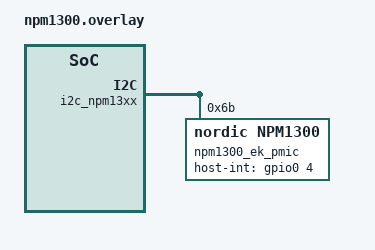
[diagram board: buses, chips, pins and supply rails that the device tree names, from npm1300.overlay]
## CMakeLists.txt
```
# Copyright (c) 2023 Nordic Semiconductor ASA
# SPDX-License-Identifier: LicenseRef-Nordic-5-Clause

cmake_minimum_required(VERSION 3.20.0)

find_package(Zephyr REQUIRED HINTS $ENV{ZEPHYR_BASE})

project(mem_lbs_memfault)

add_subdirectory(src)

zephyr_include_directories(memfault_config)
```

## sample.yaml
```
# Copyright (c) 2023 Nordic Semiconductor ASA
# SPDX-License-Identifier: LicenseRef-Nordic-5-Clause
sample:
  name: mem_lbs (BLE LBS + Memfault-over-BLE + nPM1300 fuel gauge)
  description: >
    nRF54L15 DK + nPM1300 EK sample combining the BLE LED-Button Service (advertised as
    "mem_lbs"), the Memfault Diagnostic Service (Memfault data uploaded over BLE), and the
    nPM1300 fuel gauge (state of charge, state of health, charging status).
common:
  integration_platforms:
    - nrf54l15dk/nrf54l15/cpuapp
  platform_allow:
    - nrf54l15dk/nrf54l15/cpuapp
  tags:
    - pmic
    - ci_samples_pmic
    - bluetooth
    - sysbuild
tests:
  sample.mem_lbs_memfault_compile:
    sysbuild: true
    build_only: true
    extra_args:
      - EXTRA_DTC_OVERLAY_FILE=npm1300.overlay
```

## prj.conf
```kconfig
# Copyright (c) 2023 Nordic Semiconductor ASA
# SPDX-License-Identifier: LicenseRef-Nordic-5-Clause

CONFIG_SHELL=y
CONFIG_LOG=y
CONFIG_LOG_CMDS=y
CONFIG_GPIO=y
CONFIG_REGULATOR=y
CONFIG_SENSOR=y
CONFIG_I2C_SHELL=y
CONFIG_NRF_FUEL_GAUGE=y
CONFIG_NRF_FUEL_GAUGE_VARIANT_SECONDARY_CELL=y
CONFIG_REQUIRES_FLOAT_PRINTF=y
CONFIG_MAIN_STACK_SIZE=1536
CONFIG_FLASH=y
CONFIG_FLASH_MAP=y
CONFIG_NVS=y
CONFIG_SETTINGS=y
CONFIG_SETTINGS_SHELL=y
CONFIG_NVS_LOOKUP_CACHE=y
CONFIG_SETTINGS_NVS_NAME_CACHE=y

# Bluetooth LE - mem_lbs (LED Button Service), open access, no pairing
CONFIG_BT=y
CONFIG_BT_PERIPHERAL=y
CONFIG_BT_DEVICE_NAME="mem_lbs"
CONFIG_BT_LBS=y
CONFIG_BT_LBS_POLL_BUTTON=y
CONFIG_DK_LIBRARY=y

# Bluetooth LE - Memfault Diagnostic Service (chunks forwarded by a BLE gateway)
CONFIG_BT_MDS=y

# BLE throughput tuning for faster Memfault chunk transfer
CONFIG_BT_CTLR_PHY_2M=y
CONFIG_BT_BUF_ACL_RX_SIZE=251
CONFIG_BT_L2CAP_TX_MTU=247
CONFIG_BT_BUF_ACL_TX_SIZE=251
CONFIG_BT_CTLR_DATA_LENGTH_MAX=251

CONFIG_SYSTEM_WORKQUEUE_STACK_SIZE=2048

# Memfault
# Event storage is snapshotted to flash every 5 minutes (src/memfault_persist.c) so
# heartbeats/trace events collected while BLE is disconnected survive a reboot or
# power loss. Sized as 2 x 3072-byte NVS entries (see MFLT_STORAGE_PART_COUNT).
CONFIG_MEMFAULT_EVENT_STORAGE_SIZE=6144
CONFIG_MEMFAULT=y

# Official Memfault "Core Metrics: Battery" integration for the nPM13xx fuel gauge.
# Auto-selects CONFIG_MEMFAULT_METRICS_BATTERY_ENABLE, which defines and populates
# battery_soc_pct, battery_soc_pct_drop and battery_discharge_duration_ms (required
# for the Memfault dashboard's Battery widget), plus battery_voltage and
# battery_soh_pct on NCS 3.4+.
CONFIG_MEMFAULT_NRF_PLATFORM_BATTERY_NPM13XX=y
CONFIG_MEMFAULT_NCS_PROJECT_KEY="<YOUR_MEMFAULT_PROJECT_KEY>"
CONFIG_MEMFAULT_NCS_DEVICE_ID_STATIC=y
CONFIG_MEMFAULT_NCS_DEVICE_ID="mem-lbs-nrf54l15"
CONFIG_MEMFAULT_NCS_BT_METRICS=y
CONFIG_MEMFAULT_METRICS_HEARTBEAT_INTERVAL_SECS=60
CONFIG_MEMFAULT_LOGGING_ENABLE=y
CONFIG_MEMFAULT_LOG_LEVEL_INF=y
CONFIG_MEMFAULT_SHELL=y

# Heap memory required by the Memfault shell/CLI
CONFIG_HEAP_MEM_POOL_SIZE=256
```

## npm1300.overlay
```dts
/*
 * Copyright (c) 2025 Nordic Semiconductor ASA
 *
 * SPDX-License-Identifier: LicenseRef-Nordic-5-Clause
 */

#include <zephyr/dt-bindings/regulator/npm13xx.h>
#include <zephyr/dt-bindings/input/input-event-codes.h>

&i2c_npm13xx {
	npm1300_ek_pmic: pmic@6b {
		compatible = "nordic,npm1300";
		reg = <0x6b>;

		host-int-gpios = <&gpio0 4 0>;
		pmic-int-pin = <3>;

		npm1300_ek_charger: npm1300_charger: charger {
			compatible = "nordic,npm1300-charger";
			/* Termination voltage matches the LP502540 (500 mAh) battery model
			 * in Battery/, whose OCV curve converges to ~4.20 V at SoC=100%.
			 */
			term-microvolt = <4200000>;
			term-warm-microvolt = <4000000>;
			/* 0.5C for the 500 mAh LP502540 cell. */
			current-microamp = <250000>;
			dischg-limit-microamp = <1000000>;
			vbus-limit-microamp = <500000>;
			thermistor-ohms = <10000>;
			thermistor-beta = <3380>;
			charging-enable;
		};

		npm1300_ek_leds: leds {
			compatible = "nordic,npm1300-led";
			nordic,led0-mode = "error";
			nordic,led1-mode = "charging";
			nordic,led2-mode = "host";
		};
	};
};
```

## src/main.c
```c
/*
 * Copyright (c) 2023 Nordic Semiconductor ASA
 * SPDX-License-Identifier: LicenseRef-Nordic-5-Clause
 */

#include <zephyr/kernel.h>
#include <zephyr/device.h>
#include <zephyr/drivers/gpio.h>
#include <zephyr/drivers/mfd/npm13xx.h>
#include <zephyr/drivers/sensor.h>
#include <zephyr/sys/printk.h>

#include <zephyr/bluetooth/bluetooth.h>
#include <zephyr/bluetooth/hci.h>
#include <zephyr/bluetooth/conn.h>
#include <zephyr/bluetooth/uuid.h>
#include <zephyr/bluetooth/gatt.h>

#include <bluetooth/services/lbs.h>
#include <bluetooth/services/mds.h>

#include <dk_buttons_and_leds.h>

#include <memfault/metrics/metrics.h>
#include <memfault/metrics/battery.h>
#include <memfault/core/trace_event.h>

#include "fuel_gauge.h"
#include "memfault_persist.h"

#define SLEEP_TIME_MS 500

//#define DEVICE_NAME     CONFIG_BT_DEVICE_NAME
#define DEVICE_NAME     "NEW_LBS"
#define DEVICE_NAME_LEN (sizeof(DEVICE_NAME) - 1)

#define RUN_STATUS_LED DK_LED1
#define CON_STATUS_LED DK_LED2
#define USER_LED       DK_LED3

#define USER_BUTTON DK_BTN1_MSK

/* BLE connection state values reported to Memfault. */
#define BLE_CONN_STATE_ADVERTISING 0
#define BLE_CONN_STATE_CONNECTED   1

#if DT_NODE_EXISTS(DT_NODELABEL(npm1300_ek_pmic))
#define NPM13XX_DEVICE(dev) DEVICE_DT_GET(DT_NODELABEL(npm1300_ek_##dev))
#elif DT_NODE_EXISTS(DT_NODELABEL(npm1304_ek_pmic))
#define NPM13XX_DEVICE(dev) DEVICE_DT_GET(DT_NODELABEL(npm1304_ek_##dev))
#else
#error "neither npm1300 nor npm1304 found in devicetree"
#endif

static const struct device *pmic = NPM13XX_DEVICE(pmic);
static const struct device *charger = NPM13XX_DEVICE(charger);
static volatile bool vbus_connected;

static bool app_button_state;
static struct k_work adv_work;
static uint32_t led_state_bitmask;
static bool charging_enabled = true;

static const struct bt_data ad[] = {
	BT_DATA_BYTES(BT_DATA_FLAGS, (BT_LE_AD_GENERAL | BT_LE_AD_NO_BREDR)),
	BT_DATA(BT_DATA_NAME_COMPLETE, DEVICE_NAME, DEVICE_NAME_LEN),
};

static const struct bt_data sd[] = {
	BT_DATA_BYTES(BT_DATA_UUID128_ALL, BT_UUID_LBS_VAL),
};

/* Wraps dk_set_led*() so the on-board LED state is mirrored into a Memfault metric. */
static void set_led(int led_idx, bool on)
{
	dk_set_led(led_idx, on);

	WRITE_BIT(led_state_bitmask, led_idx, on);
	MEMFAULT_METRIC_SET_UNSIGNED(led_state_bitmask, led_state_bitmask);
}

static void adv_work_handler(struct k_work *work)
{
	int err = bt_le_adv_start(BT_LE_ADV_CONN_FAST_2, ad, ARRAY_SIZE(ad), sd, ARRAY_SIZE(sd));

	if (err) {
		printk("Advertising failed to start (err %d)\n", err);
		return;
	}

	MEMFAULT_METRIC_SET_UNSIGNED(ble_conn_state, BLE_CONN_STATE_ADVERTISING);

	printk("Advertising successfully started as %s\n", DEVICE_NAME);
}

static void advertising_start(void)
{
	k_work_submit(&adv_work);
}

static void connected(struct bt_conn *conn, uint8_t err)
{
	if (err) {
		printk("Connection failed, err 0x%02x %s\n", err, bt_hci_err_to_str(err));
		return;
	}

	printk("Connected\n");

	set_led(CON_STATUS_LED, true);
	MEMFAULT_METRIC_SET_UNSIGNED(ble_conn_state, BLE_CONN_STATE_CONNECTED);
}

static void disconnected(struct bt_conn *conn, uint8_t reason)
{
	printk("Disconnected, reason 0x%02x %s\n", reason, bt_hci_err_to_str(reason));

	set_led(CON_STATUS_LED, false);
}

static void recycled_cb(void)
{
	printk("Connection object available from previous conn. Disconnect is complete!\n");
	advertising_start();
}

BT_CONN_CB_DEFINE(conn_callbacks) = {
	.connected    = connected,
	.disconnected = disconnected,
	.recycled     = recycled_cb,
};

static void app_led_cb(bool led_state)
{
	set_led(USER_LED, led_state);
}

static bool app_button_cb(void)
{
	return app_button_state;
}

static struct bt_lbs_cb lbs_callbacks = {
	.led_cb    = app_led_cb,
	.button_cb = app_button_cb,
};

/* Enables or disables charging at runtime via the nPM1300 charger's CHGR EN_SET/EN_CLR. */
static void set_charging_enabled(bool enable)
{
	struct sensor_value val = {
		.val1 = enable ? 1 : 0,
		.val2 = 0,
	};
	int err = sensor_attr_set(charger, SENSOR_CHAN_GAUGE_DESIRED_CHARGING_CURRENT,
				  SENSOR_ATTR_CONFIGURATION, &val);

	if (err) {
		printk("Failed to %s charging (err %d)\n", enable ? "enable" : "disable", err);
		return;
	}

	charging_enabled = enable;
	printk("Charging %s (Button 0)\n", enable ? "enabled" : "disabled");
}

static void button_changed(uint32_t button_state, uint32_t has_changed)
{
	if (has_changed & USER_BUTTON) {
		uint32_t user_button_state = button_state & USER_BUTTON;

		bt_lbs_send_button_state(user_button_state);
		app_button_state = user_button_state ? true : false;

		if (user_button_state) {
			/* Button 0 pressed: toggle charging on/off. */
			set_charging_enabled(!charging_enabled);
		}
	}
}

static int init_button(void)
{
	int err;

	err = dk_buttons_init(button_changed);
	if (err) {
		printk("Cannot init buttons (err: %d)\n", err);
	}

	return err;
}

/* Open access: no pairing is required, so any connected central may pull Memfault data. */
static bool mds_access_enable(struct bt_conn *conn)
{
	ARG_UNUSED(conn);

	return true;
}

static const struct bt_mds_cb mds_cb = {
	.access_enable = mds_access_enable,
};

static void event_callback(const struct device *dev, struct gpio_callback *cb, uint32_t pins)
{
	if (pins & BIT(NPM13XX_EVENT_VBUS_DETECTED)) {
		printk("Vbus connected\n");
		vbus_connected = true;
		MEMFAULT_TRACE_EVENT_WITH_LOG(vbus_state_changed, "Vbus connected");
	}

	if (pins & BIT(NPM13XX_EVENT_VBUS_REMOVED)) {
		printk("Vbus removed\n");
		vbus_connected = false;
		MEMFAULT_TRACE_EVENT_WITH_LOG(vbus_state_changed, "Vbus removed");
	}
}

int main(void)
{
	uint32_t blink_status = 0;
	int err;

	printk("Starting mem_lbs (BLE LBS + Memfault-over-BLE + nPM13xx fuel gauge)\n");

	if (!device_is_ready(pmic)) {
		printk("Pmic device not ready.\n");
		return 0;
	}

	if (!device_is_ready(charger)) {
		printk("Charger device not ready.\n");
		return 0;
	}

	/* Settings subsystem is initialized earlier, from memfault_persist.c's own
	 * SYS_INIT, so that Memfault's event storage restore hook can use it too.
	 */

	if (fuel_gauge_init(charger) < 0) {
		printk("Could not initialise fuel gauge.\n");
		return 0;
	}

	static struct gpio_callback event_cb;

	gpio_init_callback(&event_cb, event_callback,
			   BIT(NPM13XX_EVENT_VBUS_DETECTED) | BIT(NPM13XX_EVENT_VBUS_REMOVED));

	err = mfd_npm13xx_add_callback(pmic, &event_cb);
	if (err) {
		printk("Failed to add pmic callback.\n");
		return 0;
	}

	/* Initialise vbus detection status. */
	struct sensor_value val;
	int ret = sensor_attr_get(charger, SENSOR_CHAN_CURRENT, SENSOR_ATTR_UPPER_THRESH, &val);

	if (ret < 0) {
		return 0;
	}

	vbus_connected = (val.val1 != 0) || (val.val2 != 0);

	printk("PMIC device ok\n");

	err = dk_leds_init();
	if (err) {
		printk("LEDs init failed (err %d)\n", err);
		return 0;
	}

	err = init_button();
	if (err) {
		printk("Button init failed (err %d)\n", err);
		return 0;
	}

	err = bt_lbs_init(&lbs_callbacks);
	if (err) {
		printk("Failed to init LBS (err:%d)\n", err);
		return 0;
	}

	err = bt_mds_cb_register(&mds_cb);
	if (err) {
		printk("Memfault Diagnostic service callback registration failed (err %d)\n", err);
		return 0;
	}

	err = bt_enable(NULL);
	if (err) {
		printk("Bluetooth init failed (err %d)\n", err);
		return 0;
	}

	printk("Bluetooth initialized\n");

	k_work_init(&adv_work, adv_work_handler);
	advertising_start();

	memfault_persist_init();

	bool was_charging = false;

	while (1) {
		struct fuel_gauge_data fg_data;

		set_led(RUN_STATUS_LED, (++blink_status) % 2);

		if (fuel_gauge_update(charger, vbus_connected, &fg_data) == 0) {
			/* battery_soc_pct/soh_pct/voltage and the soc-drop/discharge-duration
			 * metrics are Memfault's official Core Battery Metrics, populated
			 * automatically by CONFIG_MEMFAULT_NRF_PLATFORM_BATTERY_NPM13XX.
			 */
			MEMFAULT_METRIC_SET_UNSIGNED(battery_charging, fg_data.charging ? 1 : 0);

			if (fg_data.charging && !was_charging) {
				/* Required by the battery metrics module so it excludes
				 * charge-related SoC increases from the discharge-drop stats.
				 */
				memfault_metrics_battery_stopped_discharging();
			}
			was_charging = fg_data.charging;
		}

		/* Using constant sleep time to keep the sample simple.
		 * In a real application, the interval can be long when the battery is discharging
		 * at a slow rate. Reduce the interval during periods of higher discharge current
		 * (relative to the battery size). Also use shorter intervals during charging to
		 * facilitate state-of-health estimation.
		 */
		k_msleep(SLEEP_TIME_MS);
	}
}
```

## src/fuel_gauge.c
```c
/*
 * Copyright (c) 2023 Nordic Semiconductor ASA
 * SPDX-License-Identifier: LicenseRef-Nordic-5-Clause
 */

#include <stdlib.h>
#include <math.h>

#include <zephyr/kernel.h>
#include <zephyr/device.h>
#include <zephyr/drivers/sensor.h>
#include <zephyr/drivers/sensor/npm13xx_charger.h>
#include <zephyr/settings/settings.h>
#include <zephyr/shell/shell.h>
#include <zephyr/sys/printk.h>
#include <zephyr/sys/util.h>

#include <nrf_fuel_gauge.h>

#include "fuel_gauge.h"

#define SETTINGS_KEY "fuel_gauge_state"

/* nPM13xx CHARGER.BCHGCHARGESTATUS register bitmasks */
#define NPM13XX_CHG_STATUS_COMPLETE_MASK BIT(1)
#define NPM13XX_CHG_STATUS_TRICKLE_MASK	 BIT(2)
#define NPM13XX_CHG_STATUS_CC_MASK	 BIT(3)
#define NPM13XX_CHG_STATUS_CV_MASK	 BIT(4)

static int64_t ref_time;

static const struct battery_model battery_model = {
#if DT_NODE_EXISTS(DT_NODELABEL(npm1300_ek_pmic))
#include "battery_model.inc"
#elif DT_NODE_EXISTS(DT_NODELABEL(npm1304_ek_pmic))
#include "battery_model_20mAh.inc"
#endif
};

static bool store_state;
static uint8_t fuel_gauge_state_buf[1024];

static int read_sensors(const struct device *charger, float *voltage, float *current, float *temp,
			int32_t *chg_status)
{
	struct sensor_value value;
	int ret;

	ret = sensor_sample_fetch(charger);
	if (ret < 0) {
		return ret;
	}

	sensor_channel_get(charger, SENSOR_CHAN_GAUGE_VOLTAGE, &value);
	*voltage = (float)value.val1 + ((float)value.val2 / 1000000);

	sensor_channel_get(charger, SENSOR_CHAN_GAUGE_TEMP, &value);
	*temp = (float)value.val1 + ((float)value.val2 / 1000000);

	sensor_channel_get(charger, SENSOR_CHAN_GAUGE_AVG_CURRENT, &value);
	*current = (float)value.val1 + ((float)value.val2 / 1000000);

	sensor_channel_get(charger, SENSOR_CHAN_NPM13XX_CHARGER_STATUS, &value);
	*chg_status = value.val1;

	return 0;
}

static int charge_status_inform(int32_t chg_status)
{
	union nrf_fuel_gauge_ext_state_info_data state_info;

	if (chg_status & NPM13XX_CHG_STATUS_COMPLETE_MASK) {
		printk("Charge complete\n");
		state_info.charge_state = NRF_FUEL_GAUGE_CHARGE_STATE_COMPLETE;
	} else if (chg_status & NPM13XX_CHG_STATUS_TRICKLE_MASK) {
		printk("Trickle charging\n");
		state_info.charge_state = NRF_FUEL_GAUGE_CHARGE_STATE_TRICKLE;
	} else if (chg_status & NPM13XX_CHG_STATUS_CC_MASK) {
		printk("Constant current charging\n");
		/* Using NRF_FUEL_GAUGE_CHARGE_STATE_CC_LIMITED instead of
		 * NRF_FUEL_GAUGE_CHARGE_STATE_CC because the charge current may be limited. This
		 * can be confirmed by checking the VBUS status register, etc.
		 */
		state_info.charge_state = NRF_FUEL_GAUGE_CHARGE_STATE_CC_LIMITED;
	} else if (chg_status & NPM13XX_CHG_STATUS_CV_MASK) {
		printk("Constant voltage charging\n");
		state_info.charge_state = NRF_FUEL_GAUGE_CHARGE_STATE_CV;
	} else {
		printk("Charger idle\n");
		state_info.charge_state = NRF_FUEL_GAUGE_CHARGE_STATE_IDLE;
	}

	return nrf_fuel_gauge_ext_state_update(NRF_FUEL_GAUGE_EXT_STATE_INFO_CHARGE_STATE_CHANGE,
					       &state_info);
}

static bool charging_from_status(int32_t chg_status)
{
	return (chg_status & (NPM13XX_CHG_STATUS_TRICKLE_MASK | NPM13XX_CHG_STATUS_CC_MASK |
			      NPM13XX_CHG_STATUS_CV_MASK)) != 0;
}

int fuel_gauge_init(const struct device *charger)
{
	struct sensor_value value;
	struct nrf_fuel_gauge_init_parameters parameters =
		NRF_FUEL_GAUGE_DEFAULT_INIT_PARAMETERS_SECONDARY(0.0f, 0.0f, 0.0f, &battery_model);
	float max_charge_current;
	float term_charge_current;
	int32_t chg_status;
	int ret;

	printk("nRF Fuel Gauge version: %s\n", nrf_fuel_gauge_version);

	ret = read_sensors(charger, &parameters.v0, &parameters.i0, &parameters.t0, &chg_status);
	if (ret < 0) {
		return ret;
	}
	/* Zephyr sensor API convention for Gauge current is negative=discharging,
	 * while nrf_fuel_gauge lib expects the opposite negative=charging
	 */
	parameters.i0 = -parameters.i0;

	/* Store charge nominal and termination current, needed for ttf calculation */
	sensor_channel_get(charger, SENSOR_CHAN_GAUGE_DESIRED_CHARGING_CURRENT, &value);
	max_charge_current = (float)value.val1 + ((float)value.val2 / 1000000);
	term_charge_current = max_charge_current / 10.f;

	if (IS_ENABLED(CONFIG_SETTINGS)) {
		ssize_t len;

		len = settings_load_one(SETTINGS_KEY, fuel_gauge_state_buf,
					sizeof(fuel_gauge_state_buf));
		if (len == nrf_fuel_gauge_state_size) {
			parameters.state = fuel_gauge_state_buf;
			parameters.state_size = len;
			printk("Previous fuel gauge state loaded\n");
		} else {
			printk("No previous fuel gauge state found, starting fresh\n");
		}
	}

	ret = nrf_fuel_gauge_init(&parameters, NULL);
	if (ret < 0) {
		printk("Error: Could not initialise fuel gauge\n");
		return ret;
	}

	ret = nrf_fuel_gauge_ext_state_update(NRF_FUEL_GAUGE_EXT_STATE_INFO_CHARGE_CURRENT_LIMIT,
					      &(union nrf_fuel_gauge_ext_state_info_data){
						      .charge_current_limit = max_charge_current});
	if (ret < 0) {
		printk("Error: Could not set fuel gauge state\n");
		return ret;
	}

	ret = nrf_fuel_gauge_ext_state_update(NRF_FUEL_GAUGE_EXT_STATE_INFO_TERM_CURRENT,
					      &(union nrf_fuel_gauge_ext_state_info_data){
						      .charge_term_current = term_charge_current});
	if (ret < 0) {
		printk("Error: Could not set fuel gauge state\n");
		return ret;
	}

	ret = charge_status_inform(chg_status);
	if (ret < 0) {
		printk("Error: Could not set fuel gauge state\n");
		return ret;
	}

	ref_time = k_uptime_get();

	return 0;
}

int fuel_gauge_update(const struct device *charger, bool vbus_connected,
		       struct fuel_gauge_data *data)
{
	static int32_t chg_status_prev;

	struct nrf_fuel_gauge_state_info state_info;
	float voltage;
	float current;
	float temp;
	float soc;
	float soh;
	float tte;
	float ttf;
	float delta;
	int32_t chg_status;
	int ret;

	ret = read_sensors(charger, &voltage, &current, &temp, &chg_status);
	if (ret < 0) {
		printk("Error: Could not read from charger device\n");
		return ret;
	}

	ret = nrf_fuel_gauge_ext_state_update(
		vbus_connected ? NRF_FUEL_GAUGE_EXT_STATE_INFO_VBUS_CONNECTED
			       : NRF_FUEL_GAUGE_EXT_STATE_INFO_VBUS_DISCONNECTED,
		NULL);
	if (ret < 0) {
		printk("Error: Could not inform of state\n");
		return ret;
	}

	if (chg_status != chg_status_prev) {
		chg_status_prev = chg_status;

		ret = charge_status_inform(chg_status);
		if (ret < 0) {
			printk("Error: Could not inform of charge status\n");
			return ret;
		}
	}

	delta = (float)k_uptime_delta(&ref_time) / 1000.f;

	/* Zephyr sensor API convention for Gauge current is negative=discharging,
	 * while nrf_fuel_gauge lib expects the opposite negative=charging
	 */
	current = -current;
	ret = nrf_fuel_gauge_process(voltage, current, temp, delta, &soc, &state_info);
	if (ret < 0) {
		printk("Error: Fuel gauge process failed\n");
		return ret;
	}
	ret = nrf_fuel_gauge_soh_get(&soh);
	if (ret < 0) {
		printk("Error: Could not get SOH\n");
	}
	if (current >= 0.0f) {
		/* Discharging */
		ret = nrf_fuel_gauge_tte_get(&tte);
		if (ret < 0) {
			printk("Error: Could not get TTE\n");
		}
		ttf = NAN;
	} else {
		/* Charging */
		ret = nrf_fuel_gauge_ttf_get(&ttf);
		if (ret < 0) {
			printk("Error: Could not get TTE\n");
		}
		tte = NAN;
	}

	printk("V: %.3f, I: %.3f, T: %.2f, SoC: %.2f, TTE: %.0f, TTF: %.0f, SoH: %.2f, Cycles: %d, "
	       "Chg: %.2f\n",
	       (double)voltage, (double)current, (double)temp, (double)soc, (double)tte,
	       (double)ttf, (double)soh, state_info.cycle_count,
	       (double)state_info.cycle_count_cumulative_mah);

	if (IS_ENABLED(CONFIG_SETTINGS) && store_state) {
		store_state = false;

		ret = nrf_fuel_gauge_state_get(fuel_gauge_state_buf, sizeof(fuel_gauge_state_buf));
		if (ret < 0) {
			printk("Error: Could not get fuel gauge state\n");
			return ret;
		}

		ret = settings_save_one(SETTINGS_KEY, fuel_gauge_state_buf,
					nrf_fuel_gauge_state_size);
		if (ret < 0) {
			printk("Error: Could not store fuel gauge state\n");
			return ret;
		}

		printk("Fuel gauge state stored\n");
	}

	if (data != NULL) {
		data->soc = soc;
		data->soh = soh;
		data->charging = charging_from_status(chg_status);
	}

	return 0;
}

#if CONFIG_SHELL
static int cmd_fuel_gauge_state_store(const struct shell *sh, size_t argc, char **argv)
{
	ARG_UNUSED(argc);
	ARG_UNUSED(argv);

	shell_print(sh, "Storing state after next update");
	store_state = true;

	return 0;
}

SHELL_COND_CMD_ARG_REGISTER(IS_ENABLED(CONFIG_SETTINGS), fuel_gauge_state_store, NULL,
			    "Store battery state after next iteration", cmd_fuel_gauge_state_store,
			    1, 0);
#endif /* CONFIG_SHELL */
```

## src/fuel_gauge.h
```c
/*
 * Copyright (c) 2023 Nordic Semiconductor ASA
 * SPDX-License-Identifier: LicenseRef-Nordic-5-Clause
 */

#ifndef __FUEL_GAUGE_H__
#define __FUEL_GAUGE_H__

struct fuel_gauge_data {
	float soc;
	float soh;
	bool charging;
};

int fuel_gauge_init(const struct device *charger);

int fuel_gauge_update(const struct device *charger, bool vbus_connected,
		       struct fuel_gauge_data *data);

#endif /* __FUEL_GAUGE_H__ */
```

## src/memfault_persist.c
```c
/*
 * Copyright (c) 2026 Nordic Semiconductor ASA
 * SPDX-License-Identifier: LicenseRef-Nordic-5-Clause
 *
 * Persists the Memfault event-storage RAM ring buffer (heartbeat metrics and
 * trace events) into the existing NVS-backed settings partition, so data
 * collected while BLE is disconnected survives a reboot or power loss and is
 * still uploaded via BT_MDS the next time a BLE central connects.
 *
 * The snapshot is a periodic best-effort backup, not a transactional log: an
 * abrupt power loss between two snapshots only loses the data generated
 * since the last one, which is an accepted trade-off here.
 */

#include <zephyr/init.h>
#include <zephyr/kernel.h>
#include <zephyr/settings/settings.h>
#include <zephyr/sys/printk.h>

#include <memfault/core/event_storage.h>
#include <memfault/core/platform/overrides.h>

#include "memfault_persist.h"

/* CONFIG_MEMFAULT_EVENT_STORAGE_SIZE bytes, split into NVS-entry-sized halves. */
#define MFLT_STORAGE_PART_COUNT 2
#define MFLT_STORAGE_PART_SIZE  (CONFIG_MEMFAULT_EVENT_STORAGE_SIZE / MFLT_STORAGE_PART_COUNT)

#define MFLT_SNAPSHOT_INTERVAL K_MINUTES(5)

#define SETTINGS_KEY_CTX "mflt/ctx"
#define SETTINGS_KEY_STORAGE_FMT "mflt/s%d"

BUILD_ASSERT(CONFIG_MEMFAULT_EVENT_STORAGE_SIZE % MFLT_STORAGE_PART_COUNT == 0,
	     "CONFIG_MEMFAULT_EVENT_STORAGE_SIZE must split evenly into parts");

static void snapshot_work_handler(struct k_work *work);

static K_WORK_DELAYABLE_DEFINE(snapshot_work, snapshot_work_handler);

static int settings_early_init(void)
{
	int err = settings_subsys_init();

	if (err) {
		printk("Settings subsystem could not be initialized (err %d).\n", err);
	}

	return err;
}

/* Must run before Memfault's own SYS_INIT (APPLICATION level), which calls
 * memfault_event_storage_restore_state() below and therefore needs settings
 * already mounted. POST_KERNEL always runs before APPLICATION regardless of
 * priority number; 60 just needs to be after the flash driver's own
 * POST_KERNEL init (CONFIG_FLASH_INIT_PRIORITY, default 50).
 */
SYS_INIT(settings_early_init, POST_KERNEL, 60);

bool memfault_event_storage_restore_state(sMfltEventStorageSaveState *state)
{
	ssize_t len = settings_load_one(SETTINGS_KEY_CTX, state->context, state->context_len);

	if (len != (ssize_t)state->context_len) {
		printk("No saved Memfault event storage state found, starting fresh\n");
		return false;
	}

	for (int i = 0; i < MFLT_STORAGE_PART_COUNT; i++) {
		char key[16];

		snprintf(key, sizeof(key), SETTINGS_KEY_STORAGE_FMT, i);

		len = settings_load_one(key, (uint8_t *)state->storage + i * MFLT_STORAGE_PART_SIZE,
					MFLT_STORAGE_PART_SIZE);
		if (len != MFLT_STORAGE_PART_SIZE) {
			printk("Saved Memfault event storage state incomplete, starting fresh\n");
			return false;
		}
	}

	printk("Restored Memfault event storage state from flash\n");
	return true;
}

static void snapshot_work_handler(struct k_work *work)
{
	memfault_lock();
	sMfltEventStorageSaveState state = memfault_event_storage_get_state();

	int err = settings_save_one(SETTINGS_KEY_CTX, state.context, state.context_len);

	for (int i = 0; err == 0 && i < MFLT_STORAGE_PART_COUNT; i++) {
		char key[16];

		snprintf(key, sizeof(key), SETTINGS_KEY_STORAGE_FMT, i);

		err = settings_save_one(key, (uint8_t *)state.storage + i * MFLT_STORAGE_PART_SIZE,
					MFLT_STORAGE_PART_SIZE);
	}
	memfault_unlock();

	if (err) {
		printk("Failed to snapshot Memfault event storage to flash (err %d)\n", err);
	} else {
		printk("Memfault event storage snapshotted to flash\n");
	}

	k_work_reschedule(&snapshot_work, MFLT_SNAPSHOT_INTERVAL);
}

void memfault_persist_init(void)
{
	k_work_reschedule(&snapshot_work, MFLT_SNAPSHOT_INTERVAL);
}
```

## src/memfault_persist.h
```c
/*
 * Copyright (c) 2026 Nordic Semiconductor ASA
 * SPDX-License-Identifier: LicenseRef-Nordic-5-Clause
 */

#ifndef __MEMFAULT_PERSIST_H__
#define __MEMFAULT_PERSIST_H__

/* Starts the periodic flash snapshot of the Memfault event storage buffer. */
void memfault_persist_init(void);

#endif /* __MEMFAULT_PERSIST_H__ */
```
